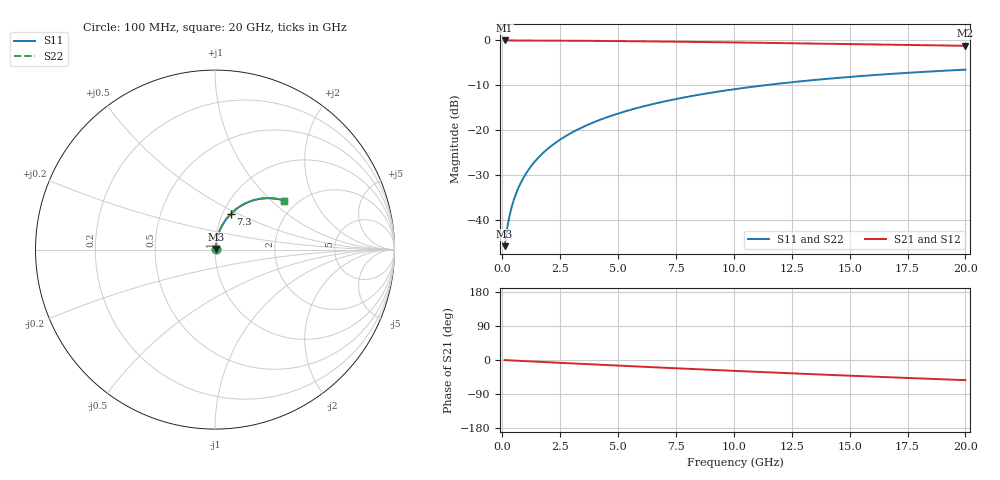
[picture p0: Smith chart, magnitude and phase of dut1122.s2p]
! Touchstone file exported from HFSS 2026.1.0
!  File:  C:/ffzhzh/LocalFiles/Ansys_Project_Files/temp_train_TMRDL_1122_1783161613_51560.aedt
!  Generated:  06:41:46 PM Jul  4, 2026
!  Design:  TMRDL
!  Project:  temp_train_TMRDL_1122_1783161613_51560
! Variables:
!  h_bsmrdl = 2um
!  h_ox = 20um
!  h_rdl = 5um
!  h_sub = 80um
!  h_tmrdl = 4.03um
!  h_tsv = 80um
!  h_via = 3um
!  l_bsmrdl = 300um
!  l_sub = 1209.24um
!  l_tmrdl = 809.24um
!  m_sub = 200um
!  pitch = 47.04um
!  r_tsv = 6um
!  s_tmrdl = 10um
!  w_bsmrdl = 18um
!  w_sub = 500um
!  w_tmrdl = 19.31um
!  x_tsv_center1 = 818.895um
!  x_tsv_center2 = 1136.895um
!  x_tsv_center3 = 1965.445um
!  x_tsv_center4 = 2283.445um
!  x_tsv_center5 = 3111.995um
!  x_tsv_center6 = 3429.995um
# GHz S MA R 50.000000
! Terminal data exported
! Port[1] = TM_RDL1_1_T1
! Port[2] = TM_RDL1_1_T2
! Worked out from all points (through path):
!   200 points, 100 MHz to 20 GHz, reference 50 ohm
!   highest |S21| = -0.03 dB at 100 MHz (marker M1); lowest = -1.2 dB at 20 GHz (marker M2)
!   group delay of S21, straight-line fit = 7.39 ps
!   lowest |S11| = -45.8 dB at 100 MHz (marker M3), VSWR 1.01, Z = 50.4 + j0.342 ohm
!   |S11| at or under -10 dB: start of sweep to 11.34 GHz
!   |S22| runs from -45.8 to -6.5 dB; largest |S21 - S12| = 1e-14
!   S11 on the Smith chart (normalised r, x): 100 MHz: 1.01, +0.01; 7.3 GHz: 1.09, +0.46; 20 GHz: 1.72, +1.20
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0.1  0.005127 41.5  0.9962 -0.3  0.9962 -0.3  0.005127 41.5
! Gamma 0 0 0 0
! Port Impedance 50 0 50 0
0.2  0.007831 58.7  0.996 -0.6  0.996 -0.6  0.007831 58.7
0.3  0.01079 66.4  0.9958 -0.9  0.9958 -0.9  0.01079 66.4
0.4  0.0138 70.6  0.9956 -1.2  0.9956 -1.2  0.0138 70.6
0.5  0.01684 73.2  0.9954 -1.5  0.9954 -1.5  0.01684 73.2
0.6  0.01989 75.1  0.9953 -1.8  0.9953 -1.8  0.01989 75.1
0.8  0.02604 77.3  0.995 -2.4  0.995 -2.4  0.02604 77.3
1.1  0.03532 78.9  0.9946 -3.3  0.9946 -3.3  0.03532 78.9
1.5  0.04775 79.5  0.9939 -4.5  0.9939 -4.5  0.04775 79.5
1.8  0.05706 79.4  0.9932 -5.4  0.9932 -5.4  0.05706 79.4
2.1  0.06634 79.1  0.9925 -6.3  0.9925 -6.3  0.06634 79.1
2.7  0.08478 78.0  0.9907 -8.1  0.9907 -8.1  0.08478 78.0
3.5  0.109 76.2  0.9877 -10.4  0.9877 -10.4  0.109 76.2
4.2  0.1299 74.5  0.9846 -12.5  0.9846 -12.5  0.1299 74.5
5  0.1532 72.4  0.9806 -14.8  0.9806 -14.8  0.1532 72.4
6.8  0.2035 67.6  0.97 -19.9  0.97 -19.9  0.2035 67.6
7.3  0.2169 66.2  0.9668 -21.3  0.9668 -21.3  0.2169 66.2
8.6  0.2507 62.8  0.9578 -24.9  0.9578 -24.9  0.2507 62.8
10.1  0.2876 58.9  0.9468 -28.9  0.9468 -28.9  0.2876 58.9
13.4  0.3604 50.6  0.9206 -37.5  0.9206 -37.5  0.3604 50.6
16.7  0.4216 42.8  0.894 -45.5  0.894 -45.5  0.4216 42.8
20  0.4715 35.4  0.8688 -53.2  0.8688 -53.2  0.4715 35.3
